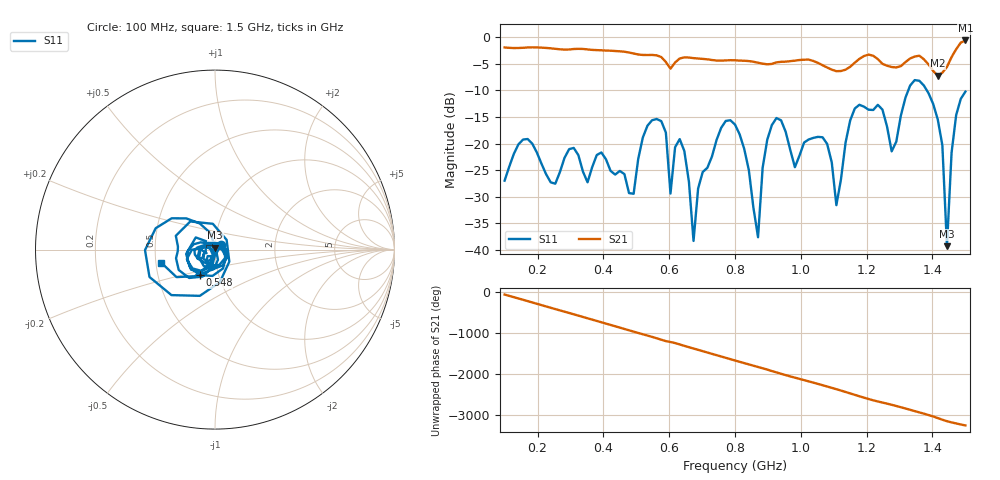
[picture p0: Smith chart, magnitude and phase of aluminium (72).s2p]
! NanoVNA-App
! Date: 2025-09-26 09:58:37
! Start: 100MHz Stop: 1,5GHz Points: 101
! S-Parameter data: F S11 S21 S12 S22
# Hz S RI R 50
!  Frequency  S11_Real  S11_Imag  S21_Real  S21_Imag  S12_Real  S12_Imag  S22_Real  S22_Imag
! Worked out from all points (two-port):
!   101 points, 100 MHz to 1.5 GHz, reference 50 ohm
!   highest |S21| = -0.59 dB at 1.5 GHz (marker M1); lowest = -7.2 dB at 1.416 GHz (marker M2)
!   |S21| within 3 dB of the highest: start of sweep to 570.6 MHz; 1.19 GHz to 1.223 GHz (32.37 MHz wide, 2.68 % of centre) (the widest 2 of 4)
!   lowest |S11| = -39.3 dB at 1.444 GHz (marker M3), VSWR 1.02, Z = 50.1 + j1.08 ohm
!   |S11| at or under -10 dB: start of sweep to 1.326 GHz; 1.383 GHz to end of sweep
!   S12 and S22 are empty: the file has one direction only
!   S11 on the Smith chart (normalised r, x): 100 MHz: 1.07, +0.06; 548 MHz: 0.81, -0.24; 1.5 GHz: 0.53, -0.09
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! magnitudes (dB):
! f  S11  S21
! 100 MHz  -27.0  -1.9
! 170 MHz  -19.1  -1.9
! 338 MHz  -25.3  -2.2
! 492 MHz  -29.5  -3.1
! 548 MHz  -15.6  -3.3
! 576 MHz  -15.8  -3.7
! 604 MHz  -29.4  -5.9
! 646 MHz  -21.4  -3.8
! 674 MHz  -38.3  -3.9
! 702 MHz  -25.3  -4.1
! 800 MHz  -16.4  -4.3
! 870 MHz  -37.6  -4.8
! 912 MHz  -16.5  -5.0
! 1.038 GHz  -18.9  -4.5
! 1.108 GHz  -31.6  -6.4
! 1.164 GHz  -13.4  -4.8
! 1.276 GHz  -21.5  -5.6
! 1.346 GHz  -8.1  -3.6
! 1.416 GHz  -15.4  -7.2
! 1.444 GHz  -39.3  -5.6
! 1.458 GHz  -21.7  -3.7
! 1.5 GHz  -10.2  -0.6
